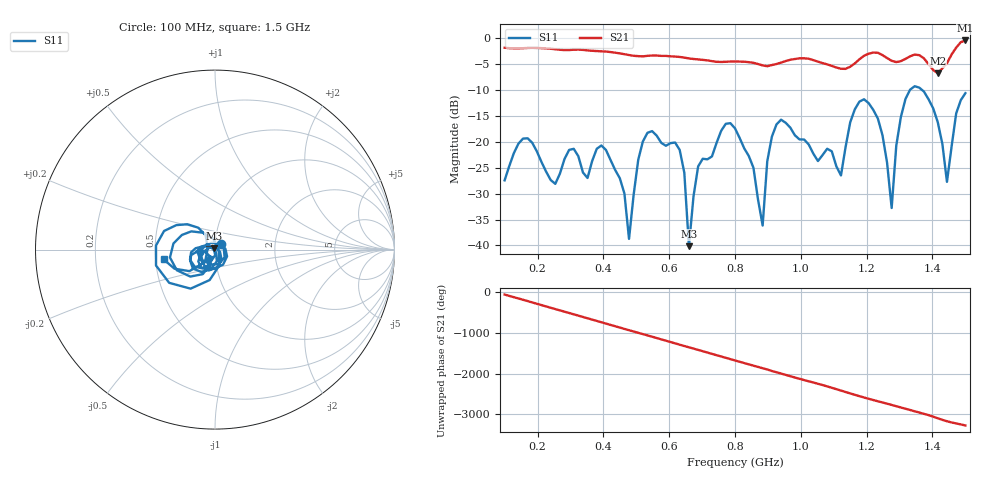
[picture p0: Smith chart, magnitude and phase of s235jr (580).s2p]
! NanoVNA-App
! Date: 2025-09-25 15:08:41
! Start: 100MHz Stop: 1,5GHz Points: 101
! S-Parameter data: F S11 S21 S12 S22
# Hz S RI R 50
!  Frequency  S11_Real  S11_Imag  S21_Real  S21_Imag  S12_Real  S12_Imag  S22_Real  S22_Imag
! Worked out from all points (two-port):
!   101 points, 100 MHz to 1.5 GHz, reference 50 ohm
!   highest |S21| = -0.56 dB at 1.5 GHz (marker M1); lowest = -6.9 dB at 1.416 GHz (marker M2)
!   |S21| within 3 dB of the highest: start of sweep to 503.2 MHz; 527.8 MHz to 595.1 MHz (67.23 MHz wide, 12 % of centre) (the widest 2 of 5)
!   lowest |S11| = -40.1 dB at 660 MHz (marker M3), VSWR 1.02, Z = 49.3 + j0.652 ohm
!   |S11| at or under -10 dB: start of sweep to 1.333 GHz; 1.367 GHz to end of sweep
!   S12 and S22 are empty: the file has one direction only
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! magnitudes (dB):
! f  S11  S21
! 100 MHz  -27.5  -2.0
! 156 MHz  -19.4  -2.1
! 338 MHz  -26.0  -2.4
! 408 MHz  -21.6  -2.7
! 478 MHz  -38.7  -3.4
! 520 MHz  -20.0  -3.6
! 576 MHz  -20.3  -3.5
! 632 MHz  -21.6  -3.7
! 660 MHz  -40.1  -4.0
! 688 MHz  -24.8  -4.2
! 800 MHz  -17.5  -4.6
! 884 MHz  -36.2  -5.4
! 926 MHz  -16.7  -5.1
! 1.038 GHz  -22.3  -4.3
! 1.122 GHz  -26.5  -6.0
! 1.192 GHz  -11.9  -3.5
! 1.248 GHz  -18.8  -3.4
! 1.276 GHz  -32.8  -4.5
! 1.332 GHz  -10.0  -3.6
! 1.416 GHz  -16.3  -6.9
! 1.444 GHz  -27.8  -4.9
! 1.5 GHz  -10.7  -0.6
